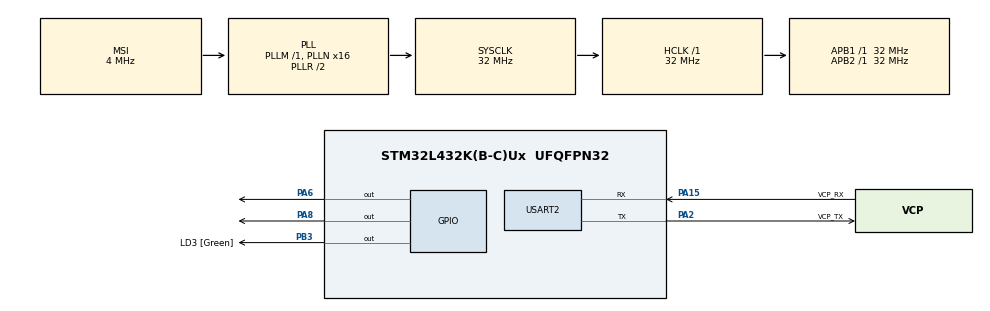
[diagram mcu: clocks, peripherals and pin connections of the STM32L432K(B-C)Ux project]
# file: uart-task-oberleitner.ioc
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Mcu.Family=STM32L4
Mcu.Name=STM32L432K(B-C)Ux
Mcu.Package=UFQFPN32
NVIC.PriorityGroup=NVIC_PRIORITYGROUP_4
NVIC.TIM6_DAC_IRQn=true\:0\:0\:false\:false\:true\:true\:true\:true
NVIC.USART2_IRQn=true\:0\:0\:false\:false\:true\:true\:true\:true
PA0.GPIO_Label=MCO [High speed clock in]
PA0.Mode=HSE-External-Clock-Source-for-LittleOrca
PA0.Signal=RCC_CK_IN
PA13\ (JTMS-SWDIO).GPIO_Label=SWDIO
PA13\ (JTMS-SWDIO).Mode=Serial_Wire
PA13\ (JTMS-SWDIO).Signal=SYS_JTMS-SWDIO
PA14\ (JTCK-SWCLK).GPIO_Label=SWCLK
PA14\ (JTCK-SWCLK).Mode=Serial_Wire
PA14\ (JTCK-SWCLK).Signal=SYS_JTCK-SWCLK
PA15\ (JTDI).GPIO_Label=VCP_RX
PA15\ (JTDI).Mode=Asynchronous
PA15\ (JTDI).Signal=USART2_RX
PA2.GPIO_Label=VCP_TX
PA2.Mode=Asynchronous
PA2.Signal=USART2_TX
PA6.Signal=GPIO_Output
PA8.Signal=GPIO_Output
PB3\ (JTDO-TRACESWO).GPIO_Label=LD3 [Green]
PB3\ (JTDO-TRACESWO).Signal=GPIO_Output
PC14-OSC32_IN\ (PC14).Mode=LSE-External-Oscillator
PC14-OSC32_IN\ (PC14).Signal=RCC_OSC32_IN
PC15-OSC32_OUT\ (PC15).Mode=LSE-External-Oscillator
PC15-OSC32_OUT\ (PC15).Signal=RCC_OSC32_OUT
ProjectManager.HeapSize=0x200
ProjectManager.StackSize=0x400
ProjectManager.TargetToolchain=STM32CubeIDE
RCC.ADCFreq_Value=32000000
RCC.AHBFreq_Value=32000000
RCC.APB1Freq_Value=32000000
RCC.APB1TimFreq_Value=32000000
RCC.APB2Freq_Value=32000000
RCC.APB2TimFreq_Value=32000000
RCC.CortexFreq_Value=32000000
RCC.HCLKFreq_Value=32000000
RCC.HSE_VALUE=8000000
RCC.HSI16_VALUE=16000000
RCC.HSI48_VALUE=48000000
RCC.HSI_VALUE=16000000
RCC.MSI_VALUE=4000000
RCC.PLLMUL=RCC_PLLMUL_4
RCC.PLLN=16
RCC.PLLSAI1N=16
RCC.SYSCLKFreq_VALUE=32000000
RCC.SYSCLKSource=RCC_SYSCLKSOURCE_PLLCLK
RCC.USBFreq_Value=32000000
RCC.VCOOutputFreq_Value=64000000
TIM6.AutoReloadPreload=TIM_AUTORELOAD_PRELOAD_ENABLE
TIM6.Period=999
TIM6.Prescaler=31000
USART2.VirtualMode-Asynchronous=VM_ASYNC
VP_RNG_VS_RNG.Mode=RNG_Activate
VP_TIM6_VS_ClockSourceINT.Mode=Enable_Timer
board=NUCLEO-L432KC

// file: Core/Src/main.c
/* USER CODE BEGIN Header */
/**
  ******************************************************************************
  * @file           : main.c
  * @brief          : Main program body
  ******************************************************************************
  * @attention
  *
  * Copyright (c) 2023 STMicroelectronics.
  * All rights reserved.
  *
  * This software is licensed under terms that can be found in the LICENSE file
  * in the root directory of this software component.
  * If no LICENSE file comes with this software, it is provided AS-IS.
  *
  ******************************************************************************
  */
/* USER CODE END Header */
#include "main.h"
#include <frame_func.h>

/* USER CODE BEGIN Includes */
#include <string.h>
#include <stdbool.h>
/* USER CODE END Includes */

RNG_HandleTypeDef hrng;
TIM_HandleTypeDef htim6;
UART_HandleTypeDef huart2;

/* USER CODE BEGIN PV */
void(*tim6_cb)(void);									// function pointer for tim6 callback
uint8_t rec_byte;										// buffer for UART receive
char receive_frame[FRAMELEN];							// string for UART received messages
bool eof_bool = false;
bool ack_bool = false;
uint8_t frame_index = 0;
/* USER CODE END PV */

void SystemClock_Config(void);
static void MX_GPIO_Init(void);
static void MX_USART2_UART_Init(void);
static void MX_RNG_Init(void);
static void MX_TIM6_Init(void);
/* USER CODE BEGIN PFP */

void send(char* message);
void receive();
void led_set_nonblocking_with_callback(uint32_t time_ms, void(*func)(void), uint16_t led);
void reset_led();

/* USER CODE END PFP */

int main(void)
{

  /* MCU Configuration--------------------------------------------------------*/

  /* Reset of all peripherals, Initializes the Flash interface and the Systick. */
  HAL_Init();

  /* Configure the system clock */
  SystemClock_Config();

  /* Initialize all configured peripherals */
  MX_GPIO_Init();
  MX_USART2_UART_Init();
  MX_RNG_Init();
  MX_TIM6_Init();
  /* USER CODE BEGIN 2 */
  HAL_GPIO_WritePin(GPIOA, GPIO_PIN_8, GPIO_PIN_SET);	// green
  HAL_GPIO_WritePin(GPIOA, GPIO_PIN_6, GPIO_PIN_SET);	// red
  char *ready_msg = "\n\nREADY\n";
  char reply_frame[FRAMELEN];
  uint32_t timeout = 100;
  /* USER CODE END 2 */

  /* Infinite loop */
  /* USER CODE BEGIN WHILE */
  while (1)
  {
	send(ready_msg);

	receive();

	if (frame_check(receive_frame) == true) {
		led_set_nonblocking_with_callback(timeout, reset_led, GPIO_PIN_8);
		send(ACK);

	if (frame_number_gen(receive_frame, reply_frame, hrng) == false) {
		Error_Handler();
	}
	send(reply_frame);

	} else {
		led_set_nonblocking_with_callback(timeout, reset_led, GPIO_PIN_6);
		send(NACK);
		continue;
	}

	do {
		receive();

		ack_bool = ack_check(receive_frame);

		if (ack_bool == false){
			led_set_nonblocking_with_callback(timeout, reset_led, GPIO_PIN_6);
			send(reply_frame);
		}
	} while (ack_bool == false);
	led_set_nonblocking_with_callback(timeout, reset_led, GPIO_PIN_8);

    /* USER CODE END WHILE */

  }
}

void SystemClock_Config(void)
{
  RCC_OscInitTypeDef RCC_OscInitStruct = {0};
  RCC_ClkInitTypeDef RCC_ClkInitStruct = {0};

  /** Configure the main internal regulator output voltage
  */
  if (HAL_PWREx_ControlVoltageScaling(PWR_REGULATOR_VOLTAGE_SCALE1) != HAL_OK)
  {
    Error_Handler();
  }

  /** Configure LSE Drive Capability
  */
  HAL_PWR_EnableBkUpAccess();
  __HAL_RCC_LSEDRIVE_CONFIG(RCC_LSEDRIVE_LOW);

  /** Initializes the RCC Oscillators according to the specified parameters
  * in the RCC_OscInitTypeDef structure.
  */
  RCC_OscInitStruct.OscillatorType = RCC_OSCILLATORTYPE_LSE|RCC_OSCILLATORTYPE_MSI;
  RCC_OscInitStruct.LSEState = RCC_LSE_ON;
  RCC_OscInitStruct.MSIState = RCC_MSI_ON;
  RCC_OscInitStruct.MSICalibrationValue = 0;
  RCC_OscInitStruct.MSIClockRange = RCC_MSIRANGE_6;
  RCC_OscInitStruct.PLL.PLLState = RCC_PLL_ON;
  RCC_OscInitStruct.PLL.PLLSource = RCC_PLLSOURCE_MSI;
  RCC_OscInitStruct.PLL.PLLM = 1;
  RCC_OscInitStruct.PLL.PLLN = 16;
  RCC_OscInitStruct.PLL.PLLP = RCC_PLLP_DIV7;
  RCC_OscInitStruct.PLL.PLLQ = RCC_PLLQ_DIV2;
  RCC_OscInitStruct.PLL.PLLR = RCC_PLLR_DIV2;
  if (HAL_RCC_OscConfig(&RCC_OscInitStruct) != HAL_OK)
  {
    Error_Handler();
  }

  /** Initializes the CPU, AHB and APB buses clocks
  */
  RCC_ClkInitStruct.ClockType = RCC_CLOCKTYPE_HCLK|RCC_CLOCKTYPE_SYSCLK
                              |RCC_CLOCKTYPE_PCLK1|RCC_CLOCKTYPE_PCLK2;
  RCC_ClkInitStruct.SYSCLKSource = RCC_SYSCLKSOURCE_PLLCLK;
  RCC_ClkInitStruct.AHBCLKDivider = RCC_SYSCLK_DIV1;
  RCC_ClkInitStruct.APB1CLKDivider = RCC_HCLK_DIV1;
  RCC_ClkInitStruct.APB2CLKDivider = RCC_HCLK_DIV1;

  if (HAL_RCC_ClockConfig(&RCC_ClkInitStruct, FLASH_LATENCY_1) != HAL_OK)
  {
    Error_Handler();
  }

  /** Enable MSI Auto calibration
  */
  HAL_RCCEx_EnableMSIPLLMode();
}

static void MX_RNG_Init(void)
{

  hrng.Instance = RNG;
  if (HAL_RNG_Init(&hrng) != HAL_OK)
  {
    Error_Handler();
  }

}

static void MX_TIM6_Init(void)
{

  TIM_MasterConfigTypeDef sMasterConfig = {0};

  htim6.Instance = TIM6;
  htim6.Init.Prescaler = 31000;
  htim6.Init.CounterMode = TIM_COUNTERMODE_UP;
  htim6.Init.Period = 999;
  htim6.Init.AutoReloadPreload = TIM_AUTORELOAD_PRELOAD_ENABLE;
  if (HAL_TIM_Base_Init(&htim6) != HAL_OK)
  {
    Error_Handler();
  }
  sMasterConfig.MasterOutputTrigger = TIM_TRGO_RESET;
  sMasterConfig.MasterSlaveMode = TIM_MASTERSLAVEMODE_DISABLE;
  if (HAL_TIMEx_MasterConfigSynchronization(&htim6, &sMasterConfig) != HAL_OK)
  {
    Error_Handler();
  }

}

static void MX_USART2_UART_Init(void)
{

  huart2.Instance = USART2;
  huart2.Init.BaudRate = 115200;
  huart2.Init.WordLength = UART_WORDLENGTH_8B;
  huart2.Init.StopBits = UART_STOPBITS_1;
  huart2.Init.Parity = UART_PARITY_NONE;
  huart2.Init.Mode = UART_MODE_TX_RX;
  huart2.Init.HwFlowCtl = UART_HWCONTROL_NONE;
  huart2.Init.OverSampling = UART_OVERSAMPLING_16;
  huart2.Init.OneBitSampling = UART_ONE_BIT_SAMPLE_DISABLE;
  huart2.AdvancedInit.AdvFeatureInit = UART_ADVFEATURE_NO_INIT;
  if (HAL_UART_Init(&huart2) != HAL_OK)
  {
    Error_Handler();
  }

}

static void MX_GPIO_Init(void)
{
  GPIO_InitTypeDef GPIO_InitStruct = {0};

  /* GPIO Ports Clock Enable */
  __HAL_RCC_GPIOC_CLK_ENABLE();
  __HAL_RCC_GPIOA_CLK_ENABLE();
  __HAL_RCC_GPIOB_CLK_ENABLE();

  /*Configure GPIO pin Output Level */
  HAL_GPIO_WritePin(GPIOA, GPIO_PIN_6|GPIO_PIN_8, GPIO_PIN_RESET);

  /*Configure GPIO pin Output Level */
  HAL_GPIO_WritePin(LD3_GPIO_Port, LD3_Pin, GPIO_PIN_RESET);

  /*Configure GPIO pins : PA6 PA8 */
  GPIO_InitStruct.Pin = GPIO_PIN_6|GPIO_PIN_8;
  GPIO_InitStruct.Mode = GPIO_MODE_OUTPUT_PP;
  GPIO_InitStruct.Pull = GPIO_NOPULL;
  GPIO_InitStruct.Speed = GPIO_SPEED_FREQ_LOW;
  HAL_GPIO_Init(GPIOA, &GPIO_InitStruct);

  /*Configure GPIO pin : LD3_Pin */
  GPIO_InitStruct.Pin = LD3_Pin;
  GPIO_InitStruct.Mode = GPIO_MODE_OUTPUT_PP;
  GPIO_InitStruct.Pull = GPIO_NOPULL;
  GPIO_InitStruct.Speed = GPIO_SPEED_FREQ_LOW;
  HAL_GPIO_Init(LD3_GPIO_Port, &GPIO_InitStruct);

}

/* USER CODE BEGIN 4 */
/**
 * @brief 	Wrapper function for UART transmitting function.
 * @param 	message: String to be sent.
 * @retval 	None
 */
void send(char* message) {
	if (HAL_UART_Transmit(&huart2, (uint8_t *)message, strlen(message), TIMEOUT)  == HAL_ERROR) {
		Error_Handler();
	}
}

/**
 * @brief 	Wrapper function for UART receiving function.
 * @param 	None
 * @retval	None
 */
void receive() {
	while (eof_bool == false) {
		if (HAL_UART_Receive_IT (&huart2, &rec_byte, RECBUF) == HAL_ERROR) {									// read
			Error_Handler();
		}
	}
	eof_bool = false;
}

/**
 * @brief 	UART receiving callback function. Copies each received byte into string "receive_frame".
 * 			Upon receiving end-of-frame "MYEOF" puts string terminator.
 * @param 	huart: 	UART handle.
 * @retval	None
 */
void HAL_UART_RxCpltCallback(UART_HandleTypeDef *huart) {
	if (huart == &huart2) {
		receive_frame[frame_index] = rec_byte;

		if (frame_index == FRAMELEN) {
			frame_index = 0;
		}
		frame_index++;

		if (rec_byte == MYEOF) {
			receive_frame[frame_index] = '\0';
			frame_index = 0;
			eof_bool = true;
		}
	}

}

/**
 * @brief 	Sets LED and starts timer TIM6.
 * @param 	time_ms: 	Time in ms for timer.
 * @param 	func: 		Function pointer to be used with callback.
 * @param 	led: 		GPIO_PIN Macro
 * @retval	None
 */
void led_set_nonblocking_with_callback(uint32_t time_ms, void(*func)(void), uint16_t led) {
	HAL_GPIO_WritePin(GPIOA, led, GPIO_PIN_RESET);
	tim6_cb = func;									// set function pointer to parameter function

	__HAL_TIM_SET_AUTORELOAD(&htim6, time_ms);
	__HAL_TIM_SET_COUNTER(&htim6, 0);
	TIM6->EGR = 1;
	__HAL_TIM_CLEAR_FLAG(&htim6, TIM_FLAG_UPDATE);

	if (HAL_TIM_Base_Start_IT(&htim6) != HAL_OK) {
		Error_Handler();
	}
}

/**
 * @brief 	Callback function for timer TIM6. Stops timer
 * 			and calls function which was passed to "led_set_nonblocking_with_callback".
 * @param	htim: 	TIM handle
 * @retval	None
 */
void HAL_TIM_PeriodElapsedCallback(TIM_HandleTypeDef *htim) {
	if (htim == &htim6) {
		HAL_TIM_Base_Stop_IT(&htim6);
		tim6_cb();
	}

}

/**
 * @brief 	Resets both LEDs.
 * @param 	None
 * @retval	None
 */
void reset_led() {
	  HAL_GPIO_WritePin(GPIOA, GPIO_PIN_8, GPIO_PIN_SET);
	  HAL_GPIO_WritePin(GPIOA, GPIO_PIN_6, GPIO_PIN_SET);
}

/* USER CODE END 4 */

void Error_Handler(void)
{
  __disable_irq();
  while (1)
  {
  }
}
